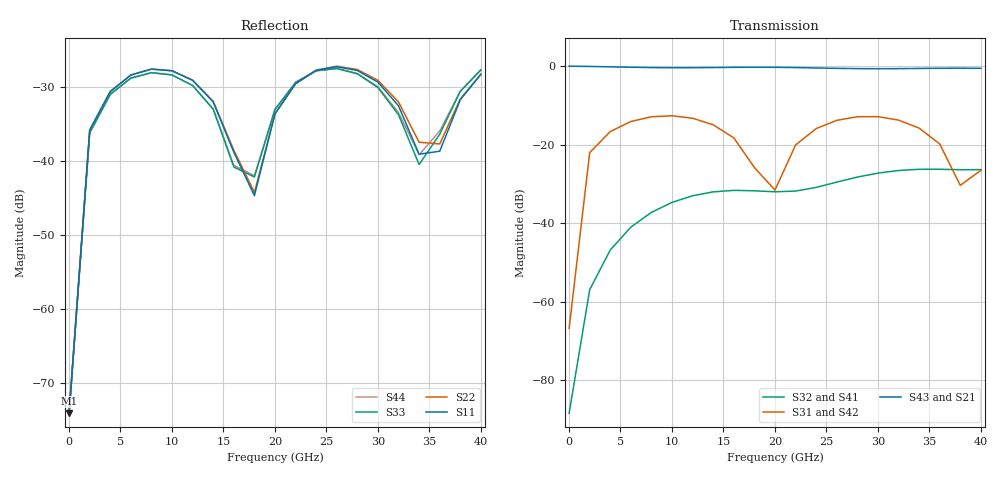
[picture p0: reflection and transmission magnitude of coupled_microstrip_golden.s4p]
! no comment supplied
# Hz S RI R 5.00000000000e+01
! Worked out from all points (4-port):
!   21 points, 10 MHz to 40 GHz, reference 50 ohm
!   strongest paths, dB at 10 MHz, 10.01 GHz, 20 GHz, 30 GHz, 40 GHz:
!     S43: 0.0, -0.4, -0.3, -0.7, -0.5
!     S21: 0.0, -0.4, -0.3, -0.6, -0.5
!     S31: -66.8, -12.6, -31.6, -12.9, -26.6
!     S42: -66.8, -12.6, -31.6, -12.9, -26.5
!     S32: -88.5, -34.7, -32.0, -27.3, -26.4
!     S41: -88.5, -34.7, -32.0, -27.2, -26.4
!   lowest |S11| = -74.1 dB at 10 MHz (marker M1), VSWR 1.00, Z = 50 + j0.00729 ohm
!   |S11| at or under -10 dB: start of sweep to end of sweep
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1e7  0.000183 7.29e-05  0.9998 -0.00195  4.1e-05 0.000453  -3.24e-05 -1.89e-05
     0.9998 -0.00195  0.000183 7.29e-05  -3.25e-05 -1.89e-05  4.1e-05 0.000453
     4.1e-05 0.000453  -3.25e-05 -1.89e-05  0.000183 7.64e-05  0.9998 -0.00195
     -3.24e-05 -1.89e-05  4.1e-05 0.000453  0.9998 -0.00195  0.000183 7.63e-05
2.0095e9  -0.0045 -0.0155  0.9325 -0.3388  0.0282 0.0739  0.00142 -6.22e-06
          0.9325 -0.3388  -0.00443 -0.0155  0.00142 -1.78e-06  0.0282 0.0739
          0.0282 0.0739  0.00142 -1.78e-06  -0.00426 -0.0149  0.9326 -0.3384
          0.00142 -6.22e-06  0.0282 0.0739  0.9326 -0.3384  -0.00422 -0.0149
6.0085e9  -0.0319 -0.0206  0.5066 -0.8257  0.169 0.1017  -0.000219 -0.00892
          0.5066 -0.8257  -0.0316 -0.0211  -0.000207 -0.00888  0.1689 0.1018
          0.169 0.1017  -0.000207 -0.00888  -0.0303 -0.0198  0.5076 -0.8251
          -0.000219 -0.00892  0.1689 0.1018  0.5076 -0.8251  -0.0301 -0.02
1.80055e10  -0.00198 -0.00547  -0.9584 -0.1441  0.0126 -0.0495  -0.00126 0.0258
            -0.9584 -0.1441  -0.00249 -0.00558  -0.00116 0.0258  0.0128 -0.0494
            0.0126 -0.0495  -0.00116 0.0258  -0.00161 -0.0076  -0.9577 -0.1477
            -0.00126 0.0258  0.0128 -0.0494  -0.9577 -0.1477  -0.00198 -0.00767
2.0005e10  -0.00577 -0.0199  -0.9495 0.1836  0.0102 0.0243  0.00653 0.0242
           -0.9495 0.1836  -0.00559 -0.02  0.0067 0.0241  0.0102 0.0243
           0.0102 0.0243  0.0067 0.0241  -0.00572 -0.0215  -0.9501 0.1795
           0.00653 0.0242  0.0102 0.0243  -0.9501 0.1795  -0.00581 -0.0215
3.00025e10  -0.0339 0.00158  0.2443 0.8952  0.2199 -0.0572  0.0427 -0.00813
            0.2443 0.8952  -0.0349 -0.00167  0.0425 -0.00838  0.22 -0.0564
            0.2199 -0.0572  0.0425 -0.00838  -0.0312 -0.000318  0.2383 0.8967
            0.0427 -0.00813  0.22 -0.0564  0.2383 0.8967  -0.0316 -0.00193
4e10  -0.0165 -0.0346  0.8795 -0.3311  0.0232 0.0409  -0.018 -0.0444
      0.8795 -0.3311  -0.016 -0.0351  -0.0187 -0.0442  0.0233 0.0409
      0.0232 0.0409  -0.0187 -0.0442  -0.0164 -0.0377  0.8823 -0.3225
      -0.018 -0.0444  0.0233 0.0409  0.8823 -0.3225  -0.0168 -0.0376
